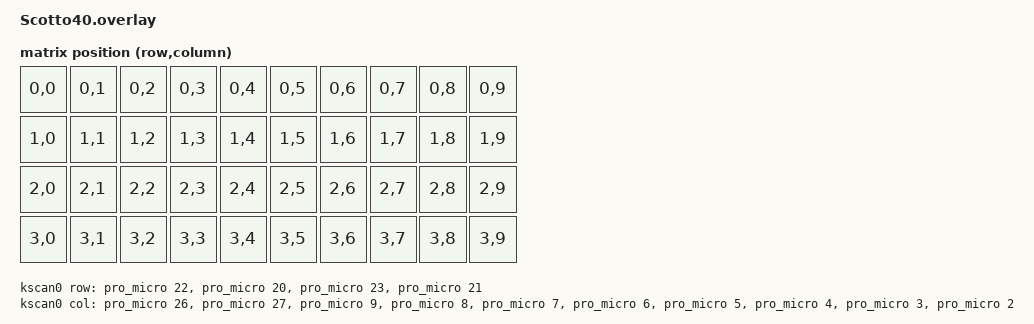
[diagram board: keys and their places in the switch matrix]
/*
 * Copyright (c) 2024 The ZMK Contributors
 *
 * SPDX-License-Identifier: MIT
 */

#include <dt-bindings/zmk/matrix_transform.h>

/ {
    chosen {
        zmk,kscan = &kscan0;
        zmk,matrix-transform = &default_transform;
    };

    default_transform: matrix_transform_0 {
        compatible = "zmk,matrix-transform";
        columns = <10>;
        rows = <4>;
        // Карта перенаправления (прямая матрица 4х10)
        map = <
            RC(0,0) RC(0,1) RC(0,2) RC(0,3) RC(0,4) RC(0,5) RC(0,6) RC(0,7) RC(0,8) RC(0,9)
            RC(1,0) RC(1,1) RC(1,2) RC(1,3) RC(1,4) RC(1,5) RC(1,6) RC(1,7) RC(1,8) RC(1,9)
            RC(2,0) RC(2,1) RC(2,2) RC(2,3) RC(2,4) RC(2,5) RC(2,6) RC(2,7) RC(2,8) RC(2,9)
            RC(3,0) RC(3,1) RC(3,2) RC(3,3) RC(3,4) RC(3,5) RC(3,6) RC(3,7) RC(3,8) RC(3,9)
        >;
    };

    kscan0: kscan_0 {
        compatible = "zmk,kscan-gpio-matrix";
        diode-direction = "col2row"; // Диоды идут от столбцов к строкам

        // Твои 10 столбцов в зеркальном порядке (маппинг под RP2040 Pro Micro)
        col-gpios
            = <&pro_micro 26 GPIO_ACTIVE_HIGH> // GP26
            , <&pro_micro 27 GPIO_ACTIVE_HIGH> // GP27
            , <&pro_micro 9  GPIO_ACTIVE_HIGH> // GP9
            , <&pro_micro 8  GPIO_ACTIVE_HIGH> // GP8
            , <&pro_micro 7  GPIO_ACTIVE_HIGH> // GP7
            , <&pro_micro 6  GPIO_ACTIVE_HIGH> // GP6
            , <&pro_micro 5  GPIO_ACTIVE_HIGH> // GP5
            , <&pro_micro 4  GPIO_ACTIVE_HIGH> // GP4
            , <&pro_micro 3  GPIO_ACTIVE_HIGH> // GP3
            , <&pro_micro 2  GPIO_ACTIVE_HIGH>;// GP2

        // Твои 4 строки (впиши актуальные пины, сейчас стоят GP10, GP11, GP12, GP13)
        row-gpios
            = <&pro_micro 22  (GPIO_ACTIVE_HIGH | GPIO_PULL_DOWN)> // GP22
            , <&pro_micro 20  (GPIO_ACTIVE_HIGH | GPIO_PULL_DOWN)> // GP20
            , <&pro_micro 23  (GPIO_ACTIVE_HIGH | GPIO_PULL_DOWN)> // GP23
            , <&pro_micro 21 (GPIO_ACTIVE_HIGH | GPIO_PULL_DOWN)>;// GP21
    };
};
 
